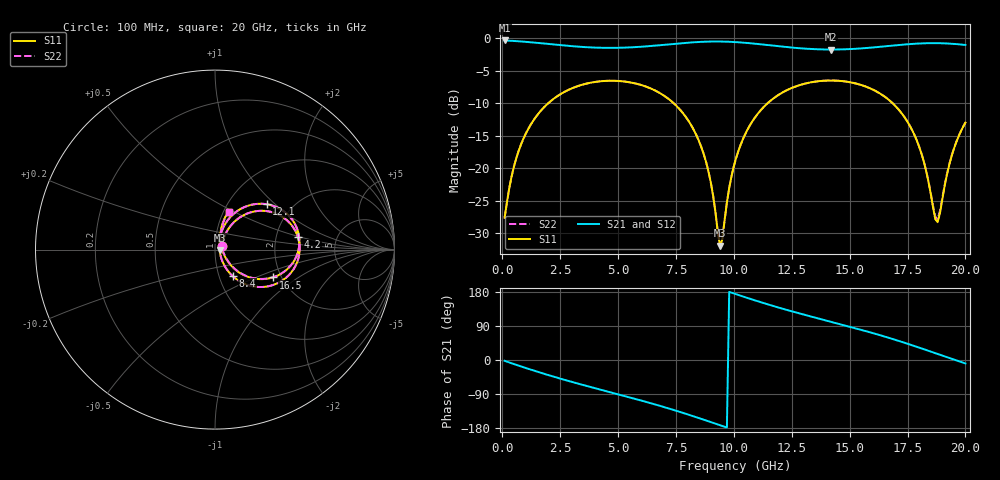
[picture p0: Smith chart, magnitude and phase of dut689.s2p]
! Touchstone file exported from HFSS 2026.1.0
!  File:  C:/ffzhzh/LocalFiles/Ansys_Project_Files/temp_train_TSV_RDL_689_1783135075_50312.aedt
!  Generated:  11:32:06 AM Jul  4, 2026
!  Design:  TSV_RDL
!  Project:  temp_train_TSV_RDL_689_1783135075_50312
! Variables:
!  h_bsmrdl = 4.97um
!  h_ox = 20um
!  h_rdl = 5um
!  h_sub = 69.23um
!  h_tmrdl = 2.16um
!  h_tsv = 69.23um
!  h_via = 3um
!  l_bsmrdl = 606.89um
!  l_sub = 6256.27um
!  l_tmrdl = 972.96um
!  m_sub = 200um
!  pitch = 43.61um
!  r_tsv = 7.05um
!  s_tmrdl = 10um
!  w_bsmrdl = 27.24um
!  w_sub = 500um
!  w_tmrdl = 20.68um
!  x_tsv_center1 = 983.3um
!  x_tsv_center2 = 1617.43um
!  x_tsv_center3 = 2611.07um
!  x_tsv_center4 = 3245.2um
!  x_tsv_center5 = 4238.84um
!  x_tsv_center6 = 4872.97um
# GHz S MA R 50.000000
! Terminal data exported
! Port[1] = TM_RDL1_1_T1
! Port[2] = TM_RDL5_1_T1
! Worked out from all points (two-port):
!   200 points, 100 MHz to 20 GHz, reference 50 ohm
!   highest |S21| = -0.32 dB at 100 MHz (marker M1); lowest = -1.7 dB at 14.2 GHz (marker M2)
!   |S21| within 3 dB of the highest: start of sweep to end of sweep
!   lowest |S11| = -31.9 dB at 9.4 GHz (marker M3), VSWR 1.05, Z = 52.6 - j0.19 ohm
!   |S11| at or under -10 dB: start of sweep to 1.979 GHz; 7.407 GHz to 11.45 GHz (4.045 GHz wide, 42.9 % of centre); 16.86 GHz to end of sweep
!   |S22| runs from -32.0 to -6.5 dB; largest |S21 - S12| = 1.6e-14
!   S11 on the Smith chart (normalised r, x): 100 MHz: 1.08, +0.04; 4.2 GHz: 2.65, +0.49; 8.4 GHz: 1.16, -0.35; 12.1 GHz: 1.50, +0.89; 16.5 GHz: 1.80, -0.64; 20 GHz: 1.06, +0.47
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0.1  0.04167 26.9  0.9634 -2.2  0.9634 -2.2  0.04167 26.9
! Gamma 0 0 0 0
! Port Impedance 50 0 50 0
0.5  0.1027 55.9  0.9547 -10.7  0.9547 -10.7  0.1027 55.9
1.2  0.2129 53.5  0.9341 -24.8  0.9341 -24.8  0.2129 53.5
2.2  0.3411 39.4  0.8976 -43.7  0.8976 -43.7  0.3411 39.4
3.5  0.4424 19.5  0.8577 -66.2  0.8577 -66.2  0.4424 19.5
4.2  0.4668 8.9  0.8468 -77.6  0.8468 -77.6  0.4668 8.9
6.8  0.3799 -31.2  0.8854 -120.8  0.8854 -120.8  0.3799 -31.2
8.4  0.1772 -56.3  0.9359 -151.4  0.9359 -151.4  0.1773 -56.3
9  0.07879 -57.8  0.9449 -163.7  0.9449 -163.7  0.0788 -57.9
9.4  0.02538 -4.1  0.9454 -172.0  0.9454 -172.0  0.02521 -4.3
9.8  0.07075 66.9  0.9413 179.7  0.9413 179.7  0.07062 67.0
10.1  0.1203 69.7  0.9352 173.5  0.9352 173.5  0.1202 69.8
10.9  0.2444 60.4  0.9099 157.6  0.9099 157.6  0.2443 60.4
12.1  0.3834 41.2  0.8631 135.4  0.8631 135.4  0.3833 41.3
13.4  0.4614 21.2  0.8272 113.6  0.8272 113.6  0.4613 21.2
14.2  0.474 9.3  0.8204 100.8  0.8204 100.8  0.474 9.3
16.5  0.3576 -25.7  0.8671 62.1  0.8671 62.1  0.3576 -25.5
16.7  0.3356 -28.8  0.8741 58.4  0.8741 58.4  0.3357 -28.6
17.9  0.164 -44.4  0.9108 34.8  0.9108 34.8  0.1643 -43.8
18.8  0.03857 21.3  0.9183 15.9  0.9183 15.9  0.04059 21.1
19.4  0.1234 73.7  0.909 3.2  0.909 3.2  0.1242 72.8
20  0.2247 70.2  0.8898 -9.2  0.8898 -9.2  0.2252 69.6
